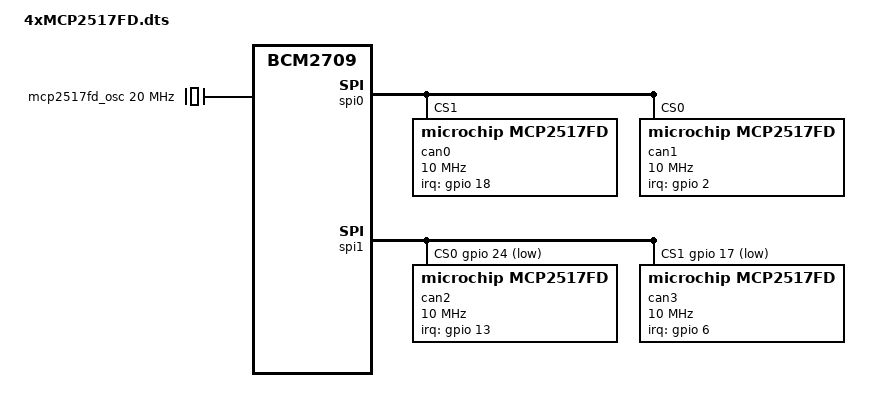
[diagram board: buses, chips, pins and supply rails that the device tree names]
/*
 * Device tree overlay for mcp2517fd/can0 on spi0.0
 */

/dts-v1/;
/plugin/;

/ {
    compatible = "brcm,bcm2835", "brcm,bcm2836", "brcm,bcm2708", "brcm,bcm2709";

    /* disable spi-dev for spi0 and spi1 */
    fragment@0 {
	target = <&spidev0>;
	__overlay__ {
            status = "disabled";
	};
    };
 
    fragment@1 {
        target = <&spidev1>;
        __overlay__ {
            status = "disabled";
        };
    };

    /* MCP2517FD INT pins */
    fragment@2 {
        target = <&gpio>;
        __overlay__ {

            mcp2517fd_int_pins: mcp2517fd_int_pins {
                brcm,pins = <18 2 13 6>;
                brcm,function = <0>; /* input */
            };

	    spi1_pins: spi1_pins {
		brcm,pins = <17 19 20 21>;
		brcm,function = <3>; // alt 4
	    };

	    spi1_cs_pins: spi1_cs_pins {
		brcm,pins = <24>; 
		brcm,function = <1>; // output
  	    };

        };
    };

    /* dedicated MCP2517FD clock @20MHz */
    fragment@3 {
        target-path = "/clocks";
        __overlay__ {
            mcp2517fd_osc: mcp2517fd_osc {
                compatible = "fixed-clock";
                #clock-cells = <0>;
                clock-frequency  = <20000000>;
            };
        };
    };

    /* CAN0: SPI0 CE1, INT pin on GPIO18 */
    /* CAN1: SPI0 CE0, INT pin on GPIO2 */
    fragment@4 {
        target = <&spi0>;
        __overlay__ {
            #address-cells = <1>;
            #size-cells = <0>;
            status = "okay";

            can0: can@0 {
		compatible = "microchip,mcp2517fd";
		reg = <1>;
                clocks = <&mcp2517fd_osc>;
		spi-max-frequency = <10000000>;
		interrupt-parent = <&gpio>;
		interrupts = <18 0x8>;
            };
            can1: can@1 {
		compatible = "microchip,mcp2517fd";
		reg = <0>;
                clocks = <&mcp2517fd_osc>;
		spi-max-frequency = <10000000>;
		interrupt-parent = <&gpio>;
		interrupts = <2 0x8>;
            };
        };
    };

    /* CAN2: SPI1 CE0, INT pin on GPIO13 */
    /* CAN3: SPI1 CE1, INT pin on GPIO6 */
    fragment@5 {
        target = <&spi1>;
        __overlay__ {
            #address-cells = <1>;
            #size-cells = <0>;
            pinctrl-names = "default";
            pinctrl-0 = <&spi1_pins &spi1_cs_pins>;
            cs-gpios = <&gpio 24 1>, <&gpio 17 1>;
            status = "okay";

            can2: can@2 {
		compatible = "microchip,mcp2517fd";
		reg = <0>;
                clocks = <&mcp2517fd_osc>;
		spi-max-frequency = <10000000>;
		interrupt-parent = <&gpio>;
		interrupts = <13 0x8>;
            };

            can3: can@3 {
		compatible = "microchip,mcp2517fd";
		reg = <1>;
                clocks = <&mcp2517fd_osc>;
		spi-max-frequency = <10000000>;
		interrupt-parent = <&gpio>;
		interrupts = <6 0x8>;
            };
        };
    };


};
